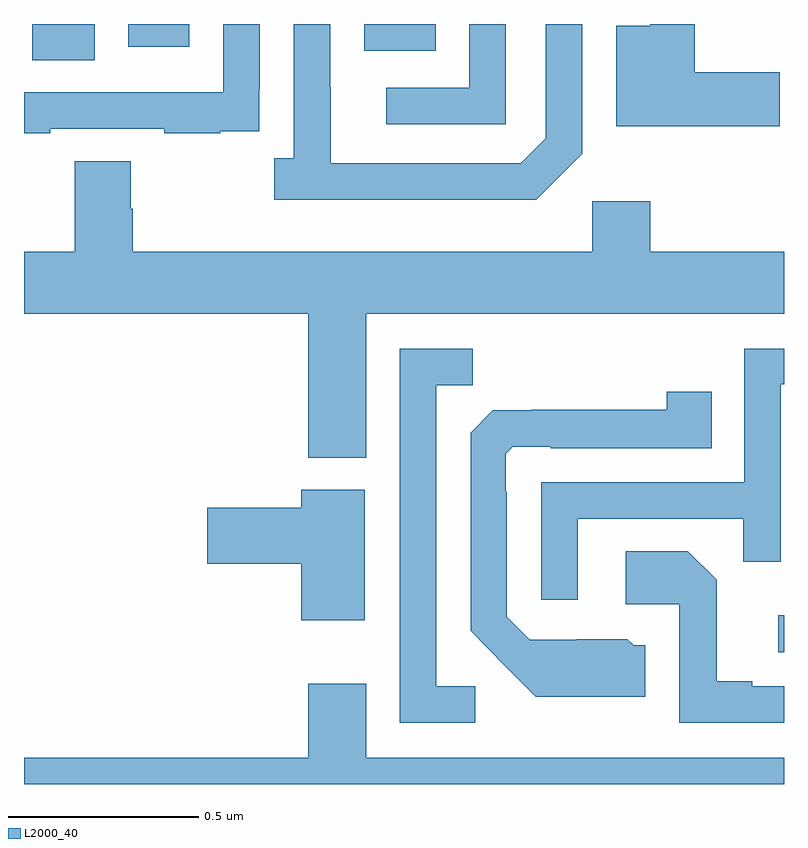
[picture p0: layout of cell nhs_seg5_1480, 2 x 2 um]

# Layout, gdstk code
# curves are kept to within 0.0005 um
import gdstk
lib = gdstk.Library(unit=1e-6, precision=1e-09)
def R(c, l, rs):  # rectangles x0, y0, x1, y1
    for r in rs: c.add(gdstk.rectangle(r[:2], r[2:], *l))
def P(c, l, *ps):  # polygons
    for p in ps: c.add(gdstk.Polygon(p, *l))
L2000_40 = (2000, 40)

nhs_seg5_1480 = lib.new_cell('nhs_seg5_1480')
R(nhs_seg5_1480, L2000_40, [(131.985,913.146,132,913.243), (130.022,914.704,130.186,914.799), (130.895,914.729,131.083,914.799), (130.274,914.739,130.435,914.799)])
P(nhs_seg5_1480, L2000_40, [(131.469,914.457),(131.469,914.799),(131.373,914.799),(131.373,914.499),(131.307,914.433),(130.807,914.433),(130.807,914.633),(130.806,914.633),(130.806,914.799),(130.71,914.799),(130.71,914.446),(130.659,914.446),(130.659,914.336),(131.348,914.336)],
  [(131.268,914.799),(131.172,914.799),(131.172,914.631),(130.953,914.631),(130.953,914.535),(131.268,914.535)],
  [(131.989,914.672),(131.765,914.672),(131.765,914.799),(131.648,914.799),(131.648,914.794),(131.558,914.794),(131.558,914.53),(131.989,914.53)],
  [(130.069,914.523),(130.369,914.523),(130.369,914.511),(130.517,914.511),(130.517,914.517),(130.619,914.517),(130.619,914.626),(130.62,914.626),(130.62,914.799),(130.524,914.799),(130.524,914.619),(130,914.619),(130,914.511),(130.069,914.511)],
  [(130.9,914.036),(132,914.036),(132,914.2),(131.648,914.2),(131.648,914.332),(131.496,914.332),(131.496,914.2),(130.286,914.2),(130.286,914.313),(130.281,914.313),(130.281,914.438),(130.133,914.438),(130.133,914.2),(130,914.2),(130,914.036),(130.748,914.036),(130.748,913.658),(130.9,913.658)],
  [(131.188,913.056),(131.085,913.056),(131.085,913.849),(131.181,913.849),(131.181,913.944),(130.989,913.944),(130.989,912.96),(131.188,912.96)],
  [(131.457,913.497),(131.893,913.497),(131.893,913.384),(131.991,913.384),(131.991,913.851),(132,913.851),(132,913.944),(131.895,913.944),(131.895,913.593),(131.361,913.593),(131.361,913.284),(131.457,913.284)],
  [(131.635,913.164),(131.604,913.164),(131.588,913.18),(131.454,913.18),(131.454,913.179),(131.331,913.179),(131.271,913.239),(131.271,913.568),(131.268,913.568),(131.268,913.668),(131.286,913.686),(131.386,913.686),(131.386,913.683),(131.81,913.683),(131.81,913.831),(131.692,913.831),(131.692,913.784),(131.335,913.784),(131.335,913.783),(131.234,913.783),(131.175,913.724),(131.175,913.202),(131.347,913.028),(131.635,913.028)],
  [(130.897,913.573),(130.73,913.573),(130.73,913.526),(130.482,913.526),(130.482,913.379),(130.73,913.379),(130.73,913.23),(130.897,913.23)],
  [(132,913.056),(131.917,913.056),(131.917,913.069),(131.823,913.069),(131.823,913.336),(131.747,913.412),(131.583,913.412),(131.583,913.272),(131.724,913.272),(131.724,912.96),(132,912.96)],
  [(132,912.868),(130.9,912.868),(130.9,913.063),(130.748,913.063),(130.748,912.868),(130,912.868),(130,912.799),(132,912.799)])

lib.write_gds('nhs_seg5_1480.gds')
